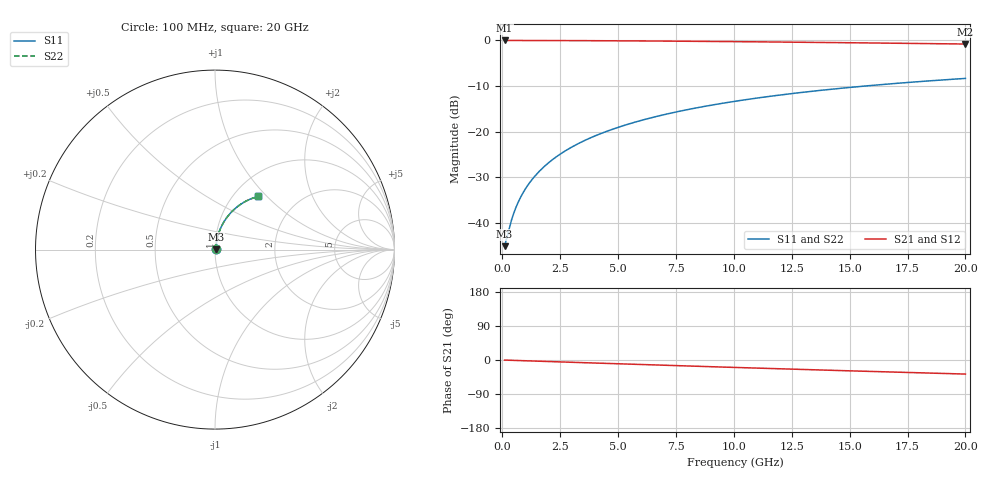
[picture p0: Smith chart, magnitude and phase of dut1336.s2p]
! Touchstone file exported from HFSS 2026.1.0
!  File:  C:/ffzhzh/LocalFiles/Ansys_Project_Files/temp_train_TMRDL_1336_1783165286_22436.aedt
!  Generated:  07:42:38 PM Jul  4, 2026
!  Design:  TMRDL
!  Project:  temp_train_TMRDL_1336_1783165286_22436
! Variables:
!  h_bsmrdl = 2um
!  h_ox = 20um
!  h_rdl = 5um
!  h_sub = 80um
!  h_tmrdl = 3.25um
!  h_tsv = 80um
!  h_via = 3um
!  l_bsmrdl = 300um
!  l_sub = 922.03um
!  l_tmrdl = 522.03um
!  m_sub = 200um
!  pitch = 32.68um
!  r_tsv = 6um
!  s_tmrdl = 10um
!  w_bsmrdl = 18um
!  w_sub = 500um
!  w_tmrdl = 11.34um
!  x_tsv_center1 = 527.7um
!  x_tsv_center2 = 845.7um
!  x_tsv_center3 = 1379.07um
!  x_tsv_center4 = 1697.07um
!  x_tsv_center5 = 2230.44um
!  x_tsv_center6 = 2548.44um
# GHz S MA R 50.000000
! Terminal data exported
! Port[1] = TM_RDL1_1_T1
! Port[2] = TM_RDL1_1_T2
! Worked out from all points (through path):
!   200 points, 100 MHz to 20 GHz, reference 50 ohm
!   highest |S21| = -0.04 dB at 100 MHz (marker M1); lowest = -0.8 dB at 20 GHz (marker M2)
!   group delay of S21, straight-line fit = 5.16 ps
!   lowest |S11| = -45.0 dB at 100 MHz (marker M3), VSWR 1.01, Z = 50.5 + j0.241 ohm
!   |S11| at or under -10 dB: start of sweep to 15.68 GHz
!   |S22| runs from -45.0 to -8.3 dB; largest |S21 - S12| = 2.6e-15
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0.1  0.005613 25.2  0.9949 -0.2  0.9949 -0.2  0.005613 25.2
! Gamma 0 0 0 0
! Port Impedance 50 0 50 0
0.3  0.008854 53.3  0.9948 -0.6  0.9948 -0.6  0.008854 53.3
0.4  0.01087 59.9  0.9946 -0.8  0.9946 -0.8  0.01087 59.9
0.5  0.01297 64.3  0.9945 -1.0  0.9945 -1.0  0.01297 64.3
0.6  0.0151 67.4  0.9944 -1.2  0.9944 -1.2  0.0151 67.4
0.7  0.01726 69.7  0.9943 -1.4  0.9943 -1.4  0.01726 69.7
0.9  0.0216 72.8  0.9941 -1.8  0.9941 -1.8  0.0216 72.8
1.2  0.02816 75.5  0.9937 -2.4  0.9937 -2.4  0.02816 75.5
1.4  0.03256 76.6  0.9935 -2.8  0.9935 -2.8  0.03256 76.6
1.7  0.03919 77.6  0.9932 -3.4  0.9932 -3.4  0.03919 77.6
2.2  0.05026 78.4  0.9925 -4.4  0.9925 -4.4  0.05026 78.4
2.8  0.06354 78.5  0.9915 -5.6  0.9915 -5.6  0.06354 78.5
3.5  0.07898 78.0  0.9901 -7.0  0.9901 -7.0  0.07898 78.0
4.2  0.09431 77.3  0.9884 -8.4  0.9884 -8.4  0.09431 77.3
5  0.1117 76.1  0.9862 -10.0  0.9862 -10.0  0.1117 76.1
5.9  0.1309 74.7  0.9834 -11.7  0.9834 -11.7  0.1309 74.7
6.8  0.1498 73.2  0.9802 -13.5  0.9802 -13.5  0.1498 73.2
8.3  0.1806 70.6  0.9741 -16.4  0.9741 -16.4  0.1806 70.6
10.1  0.2162 67.5  0.9659 -19.7  0.9659 -19.7  0.2162 67.5
13.4  0.2773 61.7  0.9486 -25.8  0.9486 -25.8  0.2773 61.7
16.7  0.3328 56.1  0.9296 -31.6  0.9296 -31.6  0.3328 56.1
20  0.3827 50.8  0.9096 -37.1  0.9096 -37.1  0.3827 50.8
